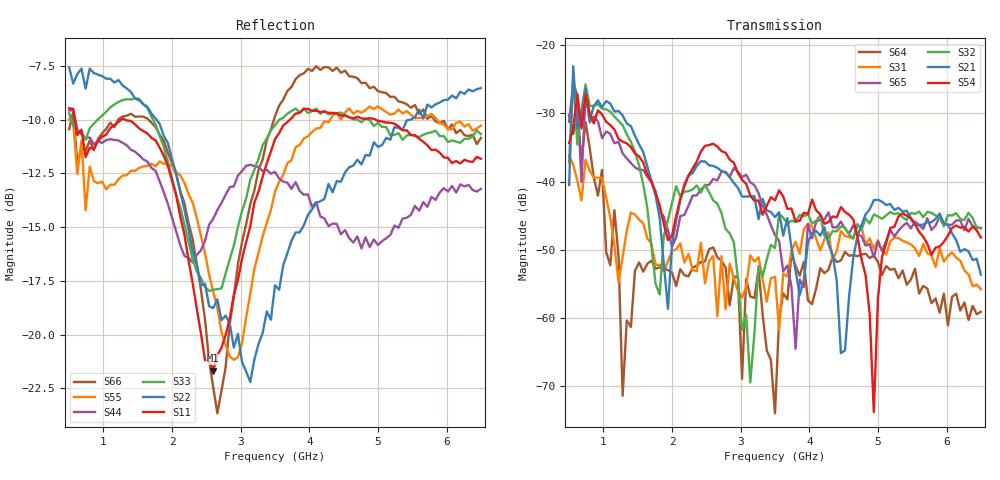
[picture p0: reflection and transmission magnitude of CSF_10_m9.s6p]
!Keysight Technologies,M9804A,MY58100912,A.14.10.03
!Date: Thursday, April 27, 2023 10:28:33
!Correction: S11(C  6-Port  )
!S12(C  6-Port  )
!S13(C  6-Port  )
!S14(C  6-Port  )
!S15(C  6-Port  )
!S16(C  6-Port  )
!S21(C  6-Port  )
!S22(C  6-Port  )
!S23(C  6-Port  )
!S24(C  6-Port  )
!S25(C  6-Port  )
!S26(C  6-Port  )
!S31(C  6-Port  )
!S32(C  6-Port  )
!S33(C  6-Port  )
!S34(C  6-Port  )
!S35(C  6-Port  )
!S36(C  6-Port  )
!S41(C  6-Port  )
!S42(C  6-Port  )
!S43(C  6-Port  )
!S44(C  6-Port  )
!S45(C  6-Port  )
!S46(C  6-Port  )
!S51(C  6-Port  )
!S52(C  6-Port  )
!S53(C  6-Port  )
!S54(C  6-Port  )
!S55(C  6-Port  )
!S56(C  6-Port  )
!S61(C  6-Port  )
!S62(C  6-Port  )
!S63(C  6-Port  )
!S64(C  6-Port  )
!S65(C  6-Port  )
!S66(C  6-Port  )
!S6P File: Measurement: :
# Hz S  RI  R 50
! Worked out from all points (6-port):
!   101 points, 500 MHz to 6.5 GHz, reference 50 ohm
!   strongest paths, dB at 500 MHz, 2 GHz, 3.5 GHz, 5 GHz, 6.5 GHz:
!     S54: -34.4, -47.9, -42.7, -57.2, -48.2
!     S21: -40.5, -49.1, -45.2, -42.7, -53.6
!     S32: -37.2, -43.1, -49.7, -45.1, -46.8
!     S65: -31.2, -49.5, -47.8, -48.8, -46.8
!     S31: -36.2, -50.2, -54.0, -48.6, -55.8
!     S64: -30.2, -53.4, -74.0, -51.8, -59.1
!   lowest |S11| = -21.7 dB at 2.6 GHz (marker M1), VSWR 1.18, Z = 42.6 + j2.05 ohm
!   |S11| at or under -10 dB: 585.1 MHz to 1.257 GHz (671.8 MHz wide, 72.9 % of centre); 1.32 GHz to 3.716 GHz (2.396 GHz wide, 95.1 % of centre); 4.969 GHz to end of sweep
